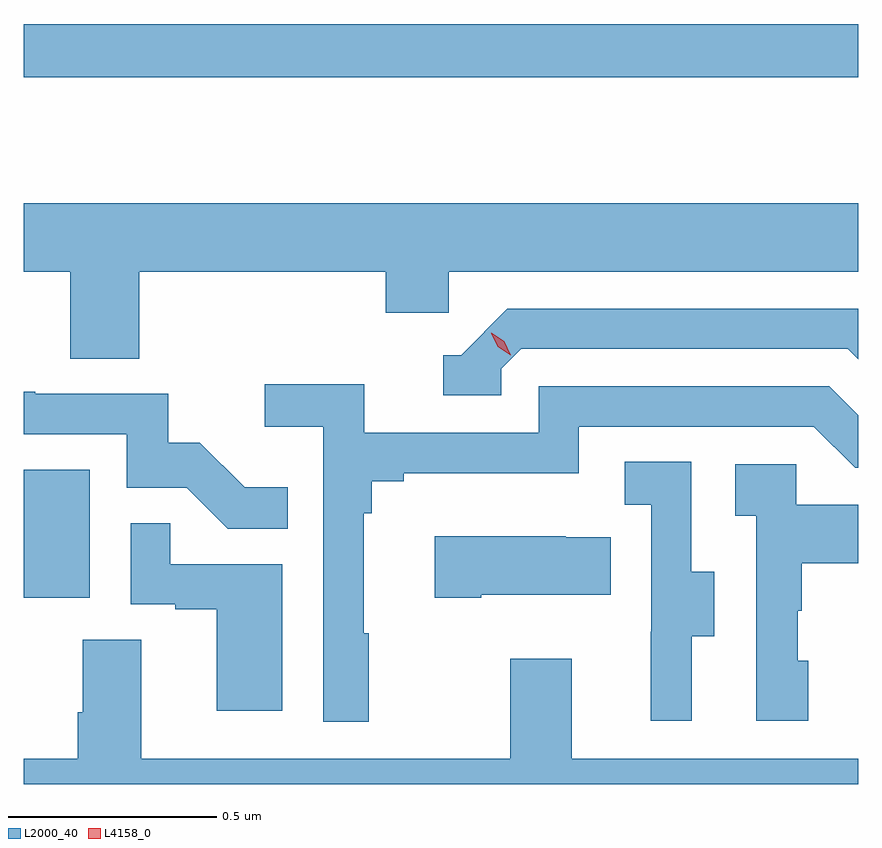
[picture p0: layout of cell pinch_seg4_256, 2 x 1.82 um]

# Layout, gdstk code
import gdstk
lib = gdstk.Library(unit=1e-6, precision=1e-09)
def R(c, l, rs):  # rectangles x0, y0, x1, y1
    for r in rs: c.add(gdstk.rectangle(r[:2], r[2:], *l))
def P(c, l, *ps):  # polygons
    for p in ps: c.add(gdstk.Polygon(p, *l))
L2000_40 = (2000, 40)
L4158_0 = (4158, 0)

pinch_seg4_256 = lib.new_cell('pinch_seg4_256')
R(pinch_seg4_256, L2000_40, [(951.65,828.006,951.808,828.313), (951.65,829.254,953.65,829.382)])
P(pinch_seg4_256, L2000_40, [(951.926,828.788),(952.517,828.788),(952.517,828.69),(952.668,828.69),(952.668,828.788),(953.65,828.788),(953.65,828.952),(951.65,828.952),(951.65,828.788),(951.761,828.788),(951.761,828.58),(951.926,828.58)],
  [(952.794,828.555),(952.842,828.603),(953.625,828.603),(953.65,828.578),(953.65,828.699),(952.809,828.699),(952.698,828.588),(952.655,828.588),(952.655,828.492),(952.794,828.492)],
  [(952.477,827.921),(952.465,827.921),(952.465,828.209),(952.484,828.209),(952.484,828.286),(952.561,828.286),(952.561,828.305),(952.98,828.305),(952.98,828.417),(953.544,828.417),(953.643,828.318),(953.65,828.318),(953.65,828.444),(953.581,828.513),(952.884,828.513),(952.884,828.402),(952.466,828.402),(952.466,828.518),(952.227,828.518),(952.227,828.416),(952.368,828.416),(952.368,827.709),(952.477,827.709)],
  [(952.283,828.271),(952.179,828.271),(952.072,828.378),(951.996,828.378),(951.996,828.495),(951.677,828.495),(951.677,828.5),(951.65,828.5),(951.65,828.399),(951.897,828.399),(951.897,828.27),(952.041,828.27),(952.139,828.172),(952.283,828.172)],
  [(953.251,827.914),(953.305,827.914),(953.305,828.069),(953.25,828.069),(953.25,828.332),(953.091,828.332),(953.091,828.229),(953.154,828.229),(953.154,827.925),(953.153,827.925),(953.153,827.712),(953.251,827.712)],
  [(953.53,827.856),(953.505,827.856),(953.505,827.975),(953.515,827.975),(953.515,828.089),(953.65,828.089),(953.65,828.229),(953.502,828.229),(953.502,828.327),(953.355,828.327),(953.355,828.203),(953.406,828.203),(953.406,827.712),(953.53,827.712)],
  [(952.27,828.087),(952.001,828.087),(952.001,828.185),(951.906,828.185),(951.906,827.991),(952.013,827.991),(952.013,827.979),(952.112,827.979),(952.112,827.736),(952.27,827.736)],
  [(952.747,828.014),(953.057,828.014),(953.057,828.151),(952.949,828.151),(952.949,828.154),(952.635,828.154),(952.635,828.007),(952.747,828.007)],
  [(953.65,827.62),(952.963,827.62),(952.963,827.86),(952.816,827.86),(952.816,827.62),(951.931,827.62),(951.931,827.906),(951.791,827.906),(951.791,827.732),(951.779,827.732),(951.779,827.62),(951.65,827.62),(951.65,827.56),(953.65,827.56)])
P(pinch_seg4_256, L4158_0, [(952.817,828.588),(952.786,828.608),(952.771,828.641),(952.771,828.642),(952.771,828.642),(952.802,828.621),(952.817,828.588),(952.817,828.588)])

lib.write_gds('pinch_seg4_256.gds')
